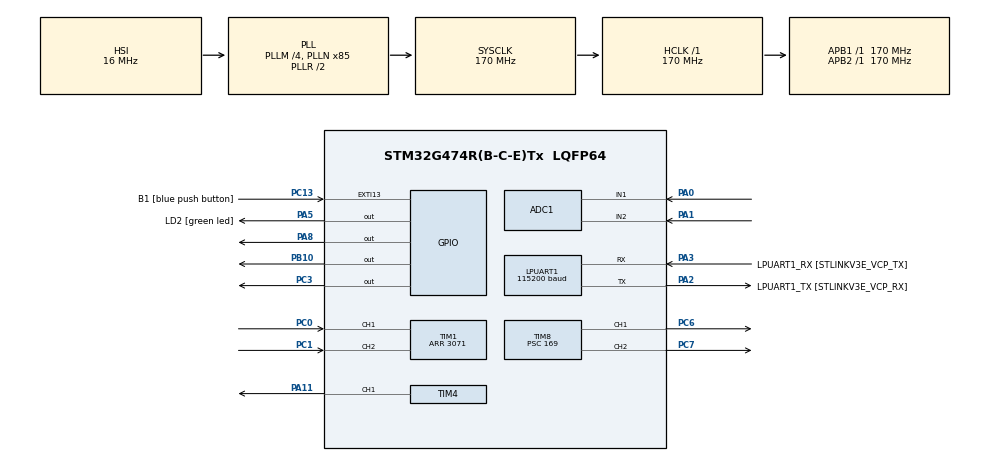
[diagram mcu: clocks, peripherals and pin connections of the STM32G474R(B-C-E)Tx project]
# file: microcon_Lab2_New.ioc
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ADC1.Channel-0\#ChannelRegularConversion=ADC_CHANNEL_1
ADC1.Channel-1\#ChannelRegularConversion=ADC_CHANNEL_2
ADC1.ContinuousConvMode=DISABLE
ADC1.DMAContinuousRequests=ENABLE
ADC1.ExternalTrigConv=ADC_EXTERNALTRIG_T3_TRGO
ADC1.NbrOfConversion=2
ADC1.NbrOfConversionFlag=1
ADC1.OffsetNumber-0\#ChannelRegularConversion=ADC_OFFSET_NONE
ADC1.OffsetNumber-1\#ChannelRegularConversion=ADC_OFFSET_NONE
ADC1.Rank-0\#ChannelRegularConversion=1
ADC1.Rank-1\#ChannelRegularConversion=2
ADC1.SamplingTime-0\#ChannelRegularConversion=ADC_SAMPLETIME_2CYCLES_5
ADC1.SamplingTime-1\#ChannelRegularConversion=ADC_SAMPLETIME_2CYCLES_5
ADC1.master=1
ARM.CMSIS-DSP.1.15.0.CMSISJjDSP=Source
ARM.CMSIS.6.0.0.CMSISJjCORE=true
Dma.ADC1.0.Direction=DMA_PERIPH_TO_MEMORY
Dma.ADC1.0.EventEnable=DISABLE
Dma.ADC1.0.Instance=DMA1_Channel1
Dma.ADC1.0.MemDataAlignment=DMA_MDATAALIGN_HALFWORD
Dma.ADC1.0.MemInc=DMA_MINC_ENABLE
Dma.ADC1.0.Mode=DMA_CIRCULAR
Dma.ADC1.0.PeriphDataAlignment=DMA_PDATAALIGN_HALFWORD
Dma.ADC1.0.PeriphInc=DMA_PINC_DISABLE
Dma.ADC1.0.Polarity=HAL_DMAMUX_REQ_GEN_RISING
Dma.ADC1.0.Priority=DMA_PRIORITY_LOW
Dma.ADC1.0.RequestNumber=1
Dma.ADC1.0.SignalID=NONE
Dma.ADC1.0.SyncEnable=DISABLE
Dma.ADC1.0.SyncPolarity=HAL_DMAMUX_SYNC_NO_EVENT
Dma.ADC1.0.SyncRequestNumber=1
Dma.ADC1.0.SyncSignalID=NONE
Dma.LPUART1_RX.1.Direction=DMA_PERIPH_TO_MEMORY
Dma.LPUART1_RX.1.EventEnable=DISABLE
Dma.LPUART1_RX.1.Instance=DMA1_Channel2
Dma.LPUART1_RX.1.MemDataAlignment=DMA_MDATAALIGN_BYTE
Dma.LPUART1_RX.1.MemInc=DMA_MINC_ENABLE
Dma.LPUART1_RX.1.Mode=DMA_CIRCULAR
Dma.LPUART1_RX.1.PeriphDataAlignment=DMA_PDATAALIGN_BYTE
Dma.LPUART1_RX.1.PeriphInc=DMA_PINC_DISABLE
Dma.LPUART1_RX.1.Polarity=HAL_DMAMUX_REQ_GEN_RISING
Dma.LPUART1_RX.1.Priority=DMA_PRIORITY_LOW
Dma.LPUART1_RX.1.RequestNumber=1
Dma.LPUART1_RX.1.SignalID=NONE
Dma.LPUART1_RX.1.SyncEnable=DISABLE
Dma.LPUART1_RX.1.SyncPolarity=HAL_DMAMUX_SYNC_NO_EVENT
Dma.LPUART1_RX.1.SyncRequestNumber=1
Dma.LPUART1_RX.1.SyncSignalID=NONE
Dma.LPUART1_TX.2.Direction=DMA_MEMORY_TO_PERIPH
Dma.LPUART1_TX.2.EventEnable=DISABLE
Dma.LPUART1_TX.2.Instance=DMA1_Channel3
Dma.LPUART1_TX.2.MemDataAlignment=DMA_MDATAALIGN_BYTE
Dma.LPUART1_TX.2.MemInc=DMA_MINC_ENABLE
Dma.LPUART1_TX.2.Mode=DMA_NORMAL
Dma.LPUART1_TX.2.PeriphDataAlignment=DMA_PDATAALIGN_BYTE
Dma.LPUART1_TX.2.PeriphInc=DMA_PINC_DISABLE
Dma.LPUART1_TX.2.Polarity=HAL_DMAMUX_REQ_GEN_RISING
Dma.LPUART1_TX.2.Priority=DMA_PRIORITY_LOW
Dma.LPUART1_TX.2.RequestNumber=1
Dma.LPUART1_TX.2.SignalID=NONE
Dma.LPUART1_TX.2.SyncEnable=DISABLE
Dma.LPUART1_TX.2.SyncPolarity=HAL_DMAMUX_SYNC_NO_EVENT
Dma.LPUART1_TX.2.SyncRequestNumber=1
Dma.LPUART1_TX.2.SyncSignalID=NONE
Dma.Request0=ADC1
Dma.Request1=LPUART1_RX
Dma.Request2=LPUART1_TX
LPUART1.BaudRate=115200
LPUART1.WordLength=UART_WORDLENGTH_8B
Mcu.Family=STM32G4
Mcu.Name=STM32G474R(B-C-E)Tx
Mcu.Package=LQFP64
NVIC.DMA1_Channel1_IRQn=true\:0\:0\:false\:false\:true\:false\:true\:true
NVIC.DMA1_Channel2_IRQn=true\:0\:0\:false\:false\:true\:false\:true\:true
NVIC.DMA1_Channel3_IRQn=true\:0\:0\:false\:false\:true\:false\:true\:true
NVIC.EXTI15_10_IRQn=true\:0\:0\:false\:false\:true\:true\:true\:true
NVIC.LPUART1_IRQn=true\:0\:0\:false\:false\:true\:true\:true\:true
NVIC.PriorityGroup=NVIC_PRIORITYGROUP_4
NVIC.TIM2_IRQn=true\:0\:0\:false\:false\:true\:true\:true\:true
NVIC.TIM5_IRQn=true\:0\:0\:false\:false\:true\:true\:true\:true
PA0.Mode=IN1-Single-Ended
PA0.Signal=ADC1_IN1
PA1.Mode=IN2-Single-Ended
PA1.Signal=ADC1_IN2
PA11.Signal=S_TIM4_CH1
PA13.GPIO_Label=T_SWDIO
PA13.Mode=Serial_Wire
PA13.Signal=SYS_JTMS-SWDIO
PA14.GPIO_Label=T_SWCLK
PA14.Mode=Serial_Wire
PA14.Signal=SYS_JTCK-SWCLK
PA2.GPIO_Label=LPUART1_TX [STLINKV3E_VCP_RX]
PA2.Mode=Asynchronous
PA2.Signal=LPUART1_TX
PA3.GPIO_Label=LPUART1_RX [STLINKV3E_VCP_TX]
PA3.Mode=Asynchronous
PA3.Signal=LPUART1_RX
PA5.GPIO_Label=LD2 [green led]
PA5.Signal=GPIO_Output
PA8.Signal=GPIO_Output
PB10.Signal=GPIO_Output
PB3.GPIO_Label=T_SWO
PB3.Signal=SYS_JTDO-SWO
PC0.Signal=S_TIM1_CH1
PC1.Signal=S_TIM1_CH2
PC13.GPIO_Label=B1 [blue push button]
PC13.Signal=GPXTI13
PC14-OSC32_IN.Mode=LSE-External-Oscillator
PC14-OSC32_IN.Signal=RCC_OSC32_IN
PC15-OSC32_OUT.Mode=LSE-External-Oscillator
PC15-OSC32_OUT.Signal=RCC_OSC32_OUT
PC3.Signal=GPIO_Output
PC6.Signal=S_TIM8_CH1
PC7.Signal=S_TIM8_CH2
PF0-OSC_IN.Mode=HSE-External-Oscillator
PF0-OSC_IN.Signal=RCC_OSC_IN
PF1-OSC_OUT.Mode=HSE-External-Oscillator
PF1-OSC_OUT.Signal=RCC_OSC_OUT
ProjectManager.HeapSize=0x200
ProjectManager.StackSize=0x400
ProjectManager.TargetToolchain=STM32CubeIDE
RCC.ADC12Freq_Value=170000000
RCC.ADC345Freq_Value=170000000
RCC.AHBFreq_Value=170000000
RCC.APB1Freq_Value=170000000
RCC.APB1TimFreq_Value=170000000
RCC.APB2Freq_Value=170000000
RCC.APB2TimFreq_Value=170000000
RCC.CortexFreq_Value=170000000
RCC.EXTERNAL_CLOCK_VALUE=12288000
RCC.HCLKFreq_Value=170000000
RCC.HSE_VALUE=24000000
RCC.HSI48_VALUE=48000000
RCC.HSI_VALUE=16000000
RCC.PLLM=RCC_PLLM_DIV4
RCC.PLLN=85
RCC.RTCClockSelection=RCC_RTCCLKSOURCE_LSE
RCC.SYSCLKFreq_VALUE=170000000
RCC.SYSCLKSource=RCC_SYSCLKSOURCE_PLLCLK
RCC.USBFreq_Value=170000000
RCC.VCOOutputFreq_Value=340000000
SH.S_TIM1_CH1.0=TIM1_CH1,Encoder_Interface
SH.S_TIM1_CH2.0=TIM1_CH2,Encoder_Interface
SH.S_TIM4_CH1.0=TIM4_CH1,PWM Generation1 CH1
SH.S_TIM8_CH1.0=TIM8_CH1,PWM Generation1 CH1
SH.S_TIM8_CH2.0=TIM8_CH2,PWM Generation2 CH2
TIM1.EncoderMode=TIM_ENCODERMODE_TI12
TIM1.PeriodNoDither=3071
TIM2.PeriodNoDither=999
TIM2.Prescaler=169
TIM3.PeriodNoDither=999
TIM3.Prescaler=169
TIM3.TIM_MasterOutputTrigger=TIM_TRGO_UPDATE
TIM4.Channel-PWM\ Generation1\ CH1=TIM_CHANNEL_1
TIM4.PeriodNoDither=999
TIM4.Prescaler=16999
TIM4.PulseNoDither_1=500
TIM5.PeriodNoDither=4999
TIM5.Prescaler=169
TIM8.Channel-PWM\ Generation1\ CH1=TIM_CHANNEL_1
TIM8.Channel-PWM\ Generation2\ CH2=TIM_CHANNEL_2
TIM8.PeriodNoDither=999
TIM8.Prescaler=169
TIM8.PulseNoDither_1=500
VP_ARM.CMSIS-DSP_VS_CMSISJjDSP_1.15.0_1.15.0.Mode=CMSISJjDSP
VP_ARM.CMSIS_VS_CMSISJjCORE_6.0.0_6.0.0.Mode=CMSISJjCORE
VP_SYS_VS_DBSignals.Mode=DisableDeadBatterySignals
VP_TIM2_VS_ClockSourceINT.Mode=Internal
VP_TIM3_VS_ClockSourceINT.Mode=Internal
VP_TIM4_VS_ClockSourceINT.Mode=Internal
VP_TIM5_VS_ClockSourceINT.Mode=Internal
VP_TIM8_VS_ClockSourceINT.Mode=Internal
board=NUCLEO-G474RE

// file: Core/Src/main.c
/* USER CODE BEGIN Header */
/**
  ******************************************************************************
  * @file           : main.c
  * @brief          : Main program body
  ******************************************************************************
  * @attention
  *
  * Copyright (c) 2024 STMicroelectronics.
  * All rights reserved.
  *
  * This software is licensed under terms that can be found in the LICENSE file
  * in the root directory of this software component.
  * If no LICENSE file comes with this software, it is provided AS-IS.
  *
  ******************************************************************************
  */
/* USER CODE END Header */
#include "main.h"

/* USER CODE BEGIN Includes */
#include "arm_math.h"
/* USER CODE END Includes */

ADC_HandleTypeDef hadc1;
DMA_HandleTypeDef hdma_adc1;

UART_HandleTypeDef hlpuart1;
DMA_HandleTypeDef hdma_lpuart1_rx;
DMA_HandleTypeDef hdma_lpuart1_tx;

TIM_HandleTypeDef htim1;
TIM_HandleTypeDef htim2;
TIM_HandleTypeDef htim3;
TIM_HandleTypeDef htim4;
TIM_HandleTypeDef htim5;
TIM_HandleTypeDef htim8;

/* USER CODE BEGIN PV */

//For Read Real_positionM1, set_point
uint16_t ADCBuffer[2];

//PID
arm_pid_instance_f32 PID1 = {0};
arm_pid_instance_f32 PID2 = {0};

//Parameter M1
float positionM1 =0;
float setpositionM1 = 0;
float VfeedbackM1 = 0;

//Parameter M2
float VfeedbackM2 = 0;
float positionM2 = 0;
uint16_t QEIReadRaw = 0;

//For create PWM
uint16_t duty_cycle = 0;

//count round to unwrap positionM1
int n_round = 0;
uint16_t old_ADC = 0;

//count round to unwrap positionM1
int n_round_M2 = 0;
uint16_t old_QEI_M2 = 0;

//change_mode
uint8_t mode = 1;  //mode1->motor control    mode2->faulhaber

//Receive Vin from simulink
int8_t get_Uart[2];
int16_t Raw_Vin = 0;

uint16_t pos = 0;

static uint32_t timestamp = 0;

/* USER CODE END PV */

void SystemClock_Config(void);
static void MX_GPIO_Init(void);
static void MX_DMA_Init(void);
static void MX_LPUART1_UART_Init(void);
static void MX_ADC1_Init(void);
static void MX_TIM3_Init(void);
static void MX_TIM4_Init(void);
static void MX_TIM8_Init(void);
static void MX_TIM2_Init(void);
static void MX_TIM1_Init(void);
static void MX_TIM5_Init(void);
/* USER CODE BEGIN PFP */
void PWM_Mode1(int dut);
void PWM_Mode2(int dut);
void Read_setpoint_positionM1_Mode1();
void Read_setpoint_positionM2_Mode2();
void UARTDMAConfig();
/* USER CODE END PFP */

int main(void)
{

  /* MCU Configuration--------------------------------------------------------*/

  /* Reset of all peripherals, Initializes the Flash interface and the Systick. */
  HAL_Init();

  /* Configure the system clock */
  SystemClock_Config();

  /* Initialize all configured peripherals */
  MX_GPIO_Init();
  MX_DMA_Init();
  MX_LPUART1_UART_Init();
  MX_ADC1_Init();
  MX_TIM3_Init();
  MX_TIM4_Init();
  MX_TIM8_Init();
  MX_TIM2_Init();
  MX_TIM1_Init();
  MX_TIM5_Init();
  /* USER CODE BEGIN 2 */

    //Read real_positionM1, set_point with DMA
    HAL_ADC_Start_DMA(&hadc1, ADCBuffer, 2);
    HAL_TIM_Base_Start(&htim3);

    //PID Control M1
    PID1.Kp = 0.2;
    PID1.Ki = 0.000005;
    PID1.Kd = 0.1;
    arm_pid_init_f32(&PID1, 0);

    //PID Control M2
    PID2.Kp = 0.6;
    PID2.Ki = 0.000001;
    PID2.Kd = 0.01;
    arm_pid_init_f32(&PID2, 0);

    //Output Compare for PWM Mode1
    HAL_TIM_Base_Start(&htim4);
    HAL_TIM_PWM_Start(&htim4, TIM_CHANNEL_1);

    //Output Compare for PWM Mode2
    HAL_TIM_Base_Start(&htim8);
    HAL_TIM_PWM_Start(&htim8, TIM_CHANNEL_1);
    HAL_TIM_PWM_Start(&htim8, TIM_CHANNEL_2);

    //Mode3 send UART (Polling) to simulink
    HAL_TIM_Base_Start_IT(&htim5);

    //Receive UART in DMA mode (Vin from simulink)
    HAL_UART_Receive_DMA(&hlpuart1, get_Uart, 2);

    //QEI
    HAL_TIM_Encoder_Start(&htim1,TIM_CHANNEL_ALL);

    //Timer interrupt for read position
    HAL_TIM_Base_Start_IT(&htim2);

  /* USER CODE END 2 */

  /* Infinite loop */
  while (1)
  {

    /* USER CODE BEGIN 3 */
	  	  if(mode == 1){ //motor control 12V
	  		  HAL_GPIO_WritePin(GPIOA, GPIO_PIN_5, 1);
	  		  VfeedbackM1 = arm_pid_f32(&PID1, setpositionM1 - positionM1); //no more than 12V
	  		  //VfeedbackM1 = 0;
	  		  duty_cycle = fabs(VfeedbackM1) * 100/12; //0->12V to 0->100%
	  		  PWM_Mode1(duty_cycle);
	  		  PWM_Mode2(0);
	  	  }
	  	  else if(mode == 2){ //Fualhaber
	  		  HAL_GPIO_WritePin(GPIOA, GPIO_PIN_5, 0);
	  		  VfeedbackM2 = arm_pid_f32(&PID2, setpositionM1 - positionM2); //no more than 12V
	  		  //VfeedbackM2 = -5;
	  		  duty_cycle = fabs(VfeedbackM2) * 100/5; //0->5V to 0->100%
	  		  PWM_Mode1(0);
	  		  PWM_Mode2(duty_cycle);
	  	  }
	  	  else if(mode == 3){
	  		  //Toggle light
	  		  if(timestamp<=HAL_GetTick())
	  		  {
	  			timestamp = HAL_GetTick() + 500; //ms
	  			HAL_GPIO_TogglePin(GPIOA, GPIO_PIN_5);
	  		  }
	  		  VfeedbackM1 = (Raw_Vin*12)/4095; //0->4095 to 0-12V
	  		  if(fabs(3.14 - positionM1)<2){
	  			VfeedbackM1 = 0;
	  		  }
	  		  duty_cycle = fabs(VfeedbackM1) * 100/12; //0->12V to 0->100%
	  		  PWM_Mode1(duty_cycle);
	  		  PWM_Mode2(0);
	  	  }
  }
  /* USER CODE END 3 */
}

void SystemClock_Config(void)
{
  RCC_OscInitTypeDef RCC_OscInitStruct = {0};
  RCC_ClkInitTypeDef RCC_ClkInitStruct = {0};

  /** Configure the main internal regulator output voltage
  */
  HAL_PWREx_ControlVoltageScaling(PWR_REGULATOR_VOLTAGE_SCALE1_BOOST);

  /** Initializes the RCC Oscillators according to the specified parameters
  * in the RCC_OscInitTypeDef structure.
  */
  RCC_OscInitStruct.OscillatorType = RCC_OSCILLATORTYPE_HSI;
  RCC_OscInitStruct.HSIState = RCC_HSI_ON;
  RCC_OscInitStruct.HSICalibrationValue = RCC_HSICALIBRATION_DEFAULT;
  RCC_OscInitStruct.PLL.PLLState = RCC_PLL_ON;
  RCC_OscInitStruct.PLL.PLLSource = RCC_PLLSOURCE_HSI;
  RCC_OscInitStruct.PLL.PLLM = RCC_PLLM_DIV4;
  RCC_OscInitStruct.PLL.PLLN = 85;
  RCC_OscInitStruct.PLL.PLLP = RCC_PLLP_DIV2;
  RCC_OscInitStruct.PLL.PLLQ = RCC_PLLQ_DIV2;
  RCC_OscInitStruct.PLL.PLLR = RCC_PLLR_DIV2;
  if (HAL_RCC_OscConfig(&RCC_OscInitStruct) != HAL_OK)
  {
    Error_Handler();
  }

  /** Initializes the CPU, AHB and APB buses clocks
  */
  RCC_ClkInitStruct.ClockType = RCC_CLOCKTYPE_HCLK|RCC_CLOCKTYPE_SYSCLK
                              |RCC_CLOCKTYPE_PCLK1|RCC_CLOCKTYPE_PCLK2;
  RCC_ClkInitStruct.SYSCLKSource = RCC_SYSCLKSOURCE_PLLCLK;
  RCC_ClkInitStruct.AHBCLKDivider = RCC_SYSCLK_DIV1;
  RCC_ClkInitStruct.APB1CLKDivider = RCC_HCLK_DIV1;
  RCC_ClkInitStruct.APB2CLKDivider = RCC_HCLK_DIV1;

  if (HAL_RCC_ClockConfig(&RCC_ClkInitStruct, FLASH_LATENCY_4) != HAL_OK)
  {
    Error_Handler();
  }
}

static void MX_ADC1_Init(void)
{

  ADC_MultiModeTypeDef multimode = {0};
  ADC_ChannelConfTypeDef sConfig = {0};

  /** Common config
  */
  hadc1.Instance = ADC1;
  hadc1.Init.ClockPrescaler = ADC_CLOCK_SYNC_PCLK_DIV4;
  hadc1.Init.Resolution = ADC_RESOLUTION_12B;
  hadc1.Init.DataAlign = ADC_DATAALIGN_RIGHT;
  hadc1.Init.GainCompensation = 0;
  hadc1.Init.ScanConvMode = ADC_SCAN_ENABLE;
  hadc1.Init.EOCSelection = ADC_EOC_SINGLE_CONV;
  hadc1.Init.LowPowerAutoWait = DISABLE;
  hadc1.Init.ContinuousConvMode = DISABLE;
  hadc1.Init.NbrOfConversion = 2;
  hadc1.Init.DiscontinuousConvMode = DISABLE;
  hadc1.Init.ExternalTrigConv = ADC_EXTERNALTRIG_T3_TRGO;
  hadc1.Init.ExternalTrigConvEdge = ADC_EXTERNALTRIGCONVEDGE_RISING;
  hadc1.Init.DMAContinuousRequests = ENABLE;
  hadc1.Init.Overrun = ADC_OVR_DATA_PRESERVED;
  hadc1.Init.OversamplingMode = DISABLE;
  if (HAL_ADC_Init(&hadc1) != HAL_OK)
  {
    Error_Handler();
  }

  /** Configure the ADC multi-mode
  */
  multimode.Mode = ADC_MODE_INDEPENDENT;
  if (HAL_ADCEx_MultiModeConfigChannel(&hadc1, &multimode) != HAL_OK)
  {
    Error_Handler();
  }

  /** Configure Regular Channel
  */
  sConfig.Channel = ADC_CHANNEL_1;
  sConfig.Rank = ADC_REGULAR_RANK_1;
  sConfig.SamplingTime = ADC_SAMPLETIME_2CYCLES_5;
  sConfig.SingleDiff = ADC_SINGLE_ENDED;
  sConfig.OffsetNumber = ADC_OFFSET_NONE;
  sConfig.Offset = 0;
  if (HAL_ADC_ConfigChannel(&hadc1, &sConfig) != HAL_OK)
  {
    Error_Handler();
  }

  /** Configure Regular Channel
  */
  sConfig.Channel = ADC_CHANNEL_2;
  sConfig.Rank = ADC_REGULAR_RANK_2;
  if (HAL_ADC_ConfigChannel(&hadc1, &sConfig) != HAL_OK)
  {
    Error_Handler();
  }

}

static void MX_LPUART1_UART_Init(void)
{

  hlpuart1.Instance = LPUART1;
  hlpuart1.Init.BaudRate = 115200;
  hlpuart1.Init.WordLength = UART_WORDLENGTH_8B;
  hlpuart1.Init.StopBits = UART_STOPBITS_1;
  hlpuart1.Init.Parity = UART_PARITY_NONE;
  hlpuart1.Init.Mode = UART_MODE_TX_RX;
  hlpuart1.Init.HwFlowCtl = UART_HWCONTROL_NONE;
  hlpuart1.Init.OneBitSampling = UART_ONE_BIT_SAMPLE_DISABLE;
  hlpuart1.Init.ClockPrescaler = UART_PRESCALER_DIV1;
  hlpuart1.AdvancedInit.AdvFeatureInit = UART_ADVFEATURE_NO_INIT;
  if (HAL_UART_Init(&hlpuart1) != HAL_OK)
  {
    Error_Handler();
  }
  if (HAL_UARTEx_SetTxFifoThreshold(&hlpuart1, UART_TXFIFO_THRESHOLD_1_8) != HAL_OK)
  {
    Error_Handler();
  }
  if (HAL_UARTEx_SetRxFifoThreshold(&hlpuart1, UART_RXFIFO_THRESHOLD_1_8) != HAL_OK)
  {
    Error_Handler();
  }
  if (HAL_UARTEx_DisableFifoMode(&hlpuart1) != HAL_OK)
  {
    Error_Handler();
  }

}

static void MX_TIM1_Init(void)
{

  TIM_Encoder_InitTypeDef sConfig = {0};
  TIM_MasterConfigTypeDef sMasterConfig = {0};

  htim1.Instance = TIM1;
  htim1.Init.Prescaler = 0;
  htim1.Init.CounterMode = TIM_COUNTERMODE_UP;
  htim1.Init.Period = 3071;
  htim1.Init.ClockDivision = TIM_CLOCKDIVISION_DIV1;
  htim1.Init.RepetitionCounter = 0;
  htim1.Init.AutoReloadPreload = TIM_AUTORELOAD_PRELOAD_DISABLE;
  sConfig.EncoderMode = TIM_ENCODERMODE_TI12;
  sConfig.IC1Polarity = TIM_ICPOLARITY_RISING;
  sConfig.IC1Selection = TIM_ICSELECTION_DIRECTTI;
  sConfig.IC1Prescaler = TIM_ICPSC_DIV1;
  sConfig.IC1Filter = 0;
  sConfig.IC2Polarity = TIM_ICPOLARITY_RISING;
  sConfig.IC2Selection = TIM_ICSELECTION_DIRECTTI;
  sConfig.IC2Prescaler = TIM_ICPSC_DIV1;
  sConfig.IC2Filter = 0;
  if (HAL_TIM_Encoder_Init(&htim1, &sConfig) != HAL_OK)
  {
    Error_Handler();
  }
  sMasterConfig.MasterOutputTrigger = TIM_TRGO_RESET;
  sMasterConfig.MasterOutputTrigger2 = TIM_TRGO2_RESET;
  sMasterConfig.MasterSlaveMode = TIM_MASTERSLAVEMODE_DISABLE;
  if (HAL_TIMEx_MasterConfigSynchronization(&htim1, &sMasterConfig) != HAL_OK)
  {
    Error_Handler();
  }

}

static void MX_TIM2_Init(void)
{

  TIM_ClockConfigTypeDef sClockSourceConfig = {0};
  TIM_MasterConfigTypeDef sMasterConfig = {0};

  htim2.Instance = TIM2;
  htim2.Init.Prescaler = 169;
  htim2.Init.CounterMode = TIM_COUNTERMODE_UP;
  htim2.Init.Period = 999;
  htim2.Init.ClockDivision = TIM_CLOCKDIVISION_DIV1;
  htim2.Init.AutoReloadPreload = TIM_AUTORELOAD_PRELOAD_DISABLE;
  if (HAL_TIM_Base_Init(&htim2) != HAL_OK)
  {
    Error_Handler();
  }
  sClockSourceConfig.ClockSource = TIM_CLOCKSOURCE_INTERNAL;
  if (HAL_TIM_ConfigClockSource(&htim2, &sClockSourceConfig) != HAL_OK)
  {
    Error_Handler();
  }
  sMasterConfig.MasterOutputTrigger = TIM_TRGO_RESET;
  sMasterConfig.MasterSlaveMode = TIM_MASTERSLAVEMODE_DISABLE;
  if (HAL_TIMEx_MasterConfigSynchronization(&htim2, &sMasterConfig) != HAL_OK)
  {
    Error_Handler();
  }

}

static void MX_TIM3_Init(void)
{

  TIM_ClockConfigTypeDef sClockSourceConfig = {0};
  TIM_MasterConfigTypeDef sMasterConfig = {0};

  htim3.Instance = TIM3;
  htim3.Init.Prescaler = 169;
  htim3.Init.CounterMode = TIM_COUNTERMODE_UP;
  htim3.Init.Period = 999;
  htim3.Init.ClockDivision = TIM_CLOCKDIVISION_DIV1;
  htim3.Init.AutoReloadPreload = TIM_AUTORELOAD_PRELOAD_DISABLE;
  if (HAL_TIM_Base_Init(&htim3) != HAL_OK)
  {
    Error_Handler();
  }
  sClockSourceConfig.ClockSource = TIM_CLOCKSOURCE_INTERNAL;
  if (HAL_TIM_ConfigClockSource(&htim3, &sClockSourceConfig) != HAL_OK)
  {
    Error_Handler();
  }
  sMasterConfig.MasterOutputTrigger = TIM_TRGO_UPDATE;
  sMasterConfig.MasterSlaveMode = TIM_MASTERSLAVEMODE_DISABLE;
  if (HAL_TIMEx_MasterConfigSynchronization(&htim3, &sMasterConfig) != HAL_OK)
  {
    Error_Handler();
  }

}

static void MX_TIM4_Init(void)
{

  TIM_ClockConfigTypeDef sClockSourceConfig = {0};
  TIM_MasterConfigTypeDef sMasterConfig = {0};
  TIM_OC_InitTypeDef sConfigOC = {0};

  htim4.Instance = TIM4;
  htim4.Init.Prescaler = 16999;
  htim4.Init.CounterMode = TIM_COUNTERMODE_UP;
  htim4.Init.Period = 999;
  htim4.Init.ClockDivision = TIM_CLOCKDIVISION_DIV1;
  htim4.Init.AutoReloadPreload = TIM_AUTORELOAD_PRELOAD_DISABLE;
  if (HAL_TIM_Base_Init(&htim4) != HAL_OK)
  {
    Error_Handler();
  }
  sClockSourceConfig.ClockSource = TIM_CLOCKSOURCE_INTERNAL;
  if (HAL_TIM_ConfigClockSource(&htim4, &sClockSourceConfig) != HAL_OK)
  {
    Error_Handler();
  }
  if (HAL_TIM_PWM_Init(&htim4) != HAL_OK)
  {
    Error_Handler();
  }
  sMasterConfig.MasterOutputTrigger = TIM_TRGO_RESET;
  sMasterConfig.MasterSlaveMode = TIM_MASTERSLAVEMODE_DISABLE;
  if (HAL_TIMEx_MasterConfigSynchronization(&htim4, &sMasterConfig) != HAL_OK)
  {
    Error_Handler();
  }
  sConfigOC.OCMode = TIM_OCMODE_PWM1;
  sConfigOC.Pulse = 500;
  sConfigOC.OCPolarity = TIM_OCPOLARITY_HIGH;
  sConfigOC.OCFastMode = TIM_OCFAST_DISABLE;
  if (HAL_TIM_PWM_ConfigChannel(&htim4, &sConfigOC, TIM_CHANNEL_1) != HAL_OK)
  {
    Error_Handler();
  }
  HAL_TIM_MspPostInit(&htim4);

}

static void MX_TIM5_Init(void)
{

  TIM_ClockConfigTypeDef sClockSourceConfig = {0};
  TIM_MasterConfigTypeDef sMasterConfig = {0};

  htim5.Instance = TIM5;
  htim5.Init.Prescaler = 169;
  htim5.Init.CounterMode = TIM_COUNTERMODE_UP;
  htim5.Init.Period = 4999;
  htim5.Init.ClockDivision = TIM_CLOCKDIVISION_DIV1;
  htim5.Init.AutoReloadPreload = TIM_AUTORELOAD_PRELOAD_DISABLE;
  if (HAL_TIM_Base_Init(&htim5) != HAL_OK)
  {
    Error_Handler();
  }
  sClockSourceConfig.ClockSource = TIM_CLOCKSOURCE_INTERNAL;
  if (HAL_TIM_ConfigClockSource(&htim5, &sClockSourceConfig) != HAL_OK)
  {
    Error_Handler();
  }
  sMasterConfig.MasterOutputTrigger = TIM_TRGO_RESET;
  sMasterConfig.MasterSlaveMode = TIM_MASTERSLAVEMODE_DISABLE;
  if (HAL_TIMEx_MasterConfigSynchronization(&htim5, &sMasterConfig) != HAL_OK)
  {
    Error_Handler();
  }

}

static void MX_TIM8_Init(void)
{

  TIM_ClockConfigTypeDef sClockSourceConfig = {0};
  TIM_MasterConfigTypeDef sMasterConfig = {0};
  TIM_OC_InitTypeDef sConfigOC = {0};
  TIM_BreakDeadTimeConfigTypeDef sBreakDeadTimeConfig = {0};

  htim8.Instance = TIM8;
  htim8.Init.Prescaler = 169;
  htim8.Init.CounterMode = TIM_COUNTERMODE_UP;
  htim8.Init.Period = 999;
  htim8.Init.ClockDivision = TIM_CLOCKDIVISION_DIV1;
  htim8.Init.RepetitionCounter = 0;
  htim8.Init.AutoReloadPreload = TIM_AUTORELOAD_PRELOAD_DISABLE;
  if (HAL_TIM_Base_Init(&htim8) != HAL_OK)
  {
    Error_Handler();
  }
  sClockSourceConfig.ClockSource = TIM_CLOCKSOURCE_INTERNAL;
  if (HAL_TIM_ConfigClockSource(&htim8, &sClockSourceConfig) != HAL_OK)
  {
    Error_Handler();
  }
  if (HAL_TIM_PWM_Init(&htim8) != HAL_OK)
  {
    Error_Handler();
  }
  sMasterConfig.MasterOutputTrigger = TIM_TRGO_RESET;
  sMasterConfig.MasterOutputTrigger2 = TIM_TRGO2_RESET;
  sMasterConfig.MasterSlaveMode = TIM_MASTERSLAVEMODE_DISABLE;
  if (HAL_TIMEx_MasterConfigSynchronization(&htim8, &sMasterConfig) != HAL_OK)
  {
    Error_Handler();
  }
  sConfigOC.OCMode = TIM_OCMODE_PWM1;
  sConfigOC.Pulse = 500;
  sConfigOC.OCPolarity = TIM_OCPOLARITY_HIGH;
  sConfigOC.OCNPolarity = TIM_OCNPOLARITY_HIGH;
  sConfigOC.OCFastMode = TIM_OCFAST_DISABLE;
  sConfigOC.OCIdleState = TIM_OCIDLESTATE_RESET;
  sConfigOC.OCNIdleState = TIM_OCNIDLESTATE_RESET;
  if (HAL_TIM_PWM_ConfigChannel(&htim8, &sConfigOC, TIM_CHANNEL_1) != HAL_OK)
  {
    Error_Handler();
  }
  sConfigOC.Pulse = 0;
  if (HAL_TIM_PWM_ConfigChannel(&htim8, &sConfigOC, TIM_CHANNEL_2) != HAL_OK)
  {
    Error_Handler();
  }
  sBreakDeadTimeConfig.OffStateRunMode = TIM_OSSR_DISABLE;
  sBreakDeadTimeConfig.OffStateIDLEMode = TIM_OSSI_DISABLE;
  sBreakDeadTimeConfig.LockLevel = TIM_LOCKLEVEL_OFF;
  sBreakDeadTimeConfig.DeadTime = 0;
  sBreakDeadTimeConfig.BreakState = TIM_BREAK_DISABLE;
  sBreakDeadTimeConfig.BreakPolarity = TIM_BREAKPOLARITY_HIGH;
  sBreakDeadTimeConfig.BreakFilter = 0;
  sBreakDeadTimeConfig.BreakAFMode = TIM_BREAK_AFMODE_INPUT;
  sBreakDeadTimeConfig.Break2State = TIM_BREAK2_DISABLE;
  sBreakDeadTimeConfig.Break2Polarity = TIM_BREAK2POLARITY_HIGH;
  sBreakDeadTimeConfig.Break2Filter = 0;
  sBreakDeadTimeConfig.Break2AFMode = TIM_BREAK_AFMODE_INPUT;
  sBreakDeadTimeConfig.AutomaticOutput = TIM_AUTOMATICOUTPUT_DISABLE;
  if (HAL_TIMEx_ConfigBreakDeadTime(&htim8, &sBreakDeadTimeConfig) != HAL_OK)
  {
    Error_Handler();
  }
  HAL_TIM_MspPostInit(&htim8);

}

static void MX_DMA_Init(void)
{

  /* DMA controller clock enable */
  __HAL_RCC_DMAMUX1_CLK_ENABLE();
  __HAL_RCC_DMA1_CLK_ENABLE();

  /* DMA interrupt init */
  /* DMA1_Channel1_IRQn interrupt configuration */
  HAL_NVIC_SetPriority(DMA1_Channel1_IRQn, 0, 0);
  HAL_NVIC_EnableIRQ(DMA1_Channel1_IRQn);
  /* DMA1_Channel2_IRQn interrupt configuration */
  HAL_NVIC_SetPriority(DMA1_Channel2_IRQn, 0, 0);
  HAL_NVIC_EnableIRQ(DMA1_Channel2_IRQn);
  /* DMA1_Channel3_IRQn interrupt configuration */
  HAL_NVIC_SetPriority(DMA1_Channel3_IRQn, 0, 0);
  HAL_NVIC_EnableIRQ(DMA1_Channel3_IRQn);

}

static void MX_GPIO_Init(void)
{
  GPIO_InitTypeDef GPIO_InitStruct = {0};

  /* GPIO Ports Clock Enable */
  __HAL_RCC_GPIOC_CLK_ENABLE();
  __HAL_RCC_GPIOF_CLK_ENABLE();
  __HAL_RCC_GPIOA_CLK_ENABLE();
  __HAL_RCC_GPIOB_CLK_ENABLE();

  /*Configure GPIO pin Output Level */
  HAL_GPIO_WritePin(GPIOC, GPIO_PIN_3, GPIO_PIN_RESET);

  /*Configure GPIO pin Output Level */
  HAL_GPIO_WritePin(GPIOA, LD2_Pin|GPIO_PIN_8, GPIO_PIN_RESET);

  /*Configure GPIO pin Output Level */
  HAL_GPIO_WritePin(GPIOB, GPIO_PIN_10, GPIO_PIN_RESET);

  /*Configure GPIO pin : B1_Pin */
  GPIO_InitStruct.Pin = B1_Pin;
  GPIO_InitStruct.Mode = GPIO_MODE_IT_RISING;
  GPIO_InitStruct.Pull = GPIO_NOPULL;
  HAL_GPIO_Init(B1_GPIO_Port, &GPIO_InitStruct);

  /*Configure GPIO pin : PC3 */
  GPIO_InitStruct.Pin = GPIO_PIN_3;
  GPIO_InitStruct.Mode = GPIO_MODE_OUTPUT_PP;
  GPIO_InitStruct.Pull = GPIO_NOPULL;
  GPIO_InitStruct.Speed = GPIO_SPEED_FREQ_LOW;
  HAL_GPIO_Init(GPIOC, &GPIO_InitStruct);

  /*Configure GPIO pins : LD2_Pin PA8 */
  GPIO_InitStruct.Pin = LD2_Pin|GPIO_PIN_8;
  GPIO_InitStruct.Mode = GPIO_MODE_OUTPUT_PP;
  GPIO_InitStruct.Pull = GPIO_NOPULL;
  GPIO_InitStruct.Speed = GPIO_SPEED_FREQ_LOW;
  HAL_GPIO_Init(GPIOA, &GPIO_InitStruct);

  /*Configure GPIO pin : PB10 */
  GPIO_InitStruct.Pin = GPIO_PIN_10;
  GPIO_InitStruct.Mode = GPIO_MODE_OUTPUT_PP;
  GPIO_InitStruct.Pull = GPIO_NOPULL;
  GPIO_InitStruct.Speed = GPIO_SPEED_FREQ_LOW;
  HAL_GPIO_Init(GPIOB, &GPIO_InitStruct);

  /* EXTI interrupt init*/
  HAL_NVIC_SetPriority(EXTI15_10_IRQn, 0, 0);
  HAL_NVIC_EnableIRQ(EXTI15_10_IRQn);

}

/* USER CODE BEGIN 4 */

void HAL_GPIO_EXTI_Callback(uint16_t GPIO_Pin)
{
	if(GPIO_Pin == GPIO_PIN_13)
	{
		mode += 1;
		if(mode == 4){
			mode = 1;
		}
	}
}

void PWM_Mode1(int dut){ //Motor Control
	//PWM to Motor Output Compare
	__HAL_TIM_SET_COMPARE(&htim4, TIM_CHANNEL_1, dut*10);

	if(VfeedbackM1 >= 0){   //Motor Rotate Forward (CW) Radiant Increase
		HAL_GPIO_WritePin(GPIOA, GPIO_PIN_8, GPIO_PIN_RESET);
		HAL_GPIO_WritePin(GPIOB, GPIO_PIN_10, GPIO_PIN_SET);
	}
	else{ //Motor Rotate Reverse Radiant decrease (CCW)
		HAL_GPIO_WritePin(GPIOA, GPIO_PIN_8, GPIO_PIN_SET);
		HAL_GPIO_WritePin(GPIOB, GPIO_PIN_10, GPIO_PIN_RESET);
	}
}

void PWM_Mode2(int dut){ //Motor Faulhaber
	//PWM to Motor Output Compare

	if(VfeedbackM2 >= 0){   //Motor Rotate Forward (CW) Radiant Increase
		__HAL_TIM_SET_COMPARE(&htim8, TIM_CHANNEL_1, dut*10);
		__HAL_TIM_SET_COMPARE(&htim8, TIM_CHANNEL_2, 0);
	}
	else{ //Motor Rotate Reverse Radiant decrease (CCW)
		__HAL_TIM_SET_COMPARE(&htim8, TIM_CHANNEL_1, 0);
		__HAL_TIM_SET_COMPARE(&htim8, TIM_CHANNEL_2, dut*10);
	}
}

void Read_setpoint_positionM1_Mode1(){ //Motor Control
	//Unwrap positionM1
	if((old_ADC -  ADCBuffer[0])>2048){
		n_round += 1;
	}
	else if((old_ADC -  ADCBuffer[0])<-2048){
		n_round -= 1;
	}
	old_ADC = ADCBuffer[0];

	setpositionM1 = ADCBuffer[1]*2*3.14/4095; //4095 -> rad
	positionM1 = (ADCBuffer[0] + 4095*n_round)*2*3.14/4095; //4095 -> rad //feedback from potentionmeter
}

void Read_setpoint_positionM2_Mode2(){

	//read position motor 2
	QEIReadRaw = __HAL_TIM_GET_COUNTER(&htim1);

	//Unwrap positionM2
	if((old_QEI_M2 - QEIReadRaw)>1536){
			n_round_M2 += 1;
	}
	else if((old_QEI_M2 - QEIReadRaw)<-1536){
			n_round_M2 -= 1;
	}
	old_QEI_M2 = QEIReadRaw;

	positionM2 = (QEIReadRaw + 3072*n_round_M2)*2*3.14/3072; //rad
}

void HAL_TIM_PeriodElapsedCallback(TIM_HandleTypeDef *htim)
{
	if(htim == &htim5 && mode == 3)
	{
		pos = ADCBuffer[0] + 4095*n_round + 32768; // Your 16-bit number
		//pos = Raw_Vin + 32768;
		uint8_t header = 69; // ASCII value for 'E'
		uint8_t terminator = '\n'; // Newline character

		// Split 16-bit number into two 8-bit parts
		uint8_t highByte_pos = (pos >> 8) & 0xFF;
		uint8_t lowByte_pos = pos & 0xFF;

		// Prepare buffer to hold header, two 8-bit parts, and terminator
		uint8_t buffer[4];
		buffer[0] = header;
		buffer[1] = highByte_pos;
		buffer[2] = lowByte_pos;
		buffer[3] = terminator;

		// Transmit data over UART (Polling)
		HAL_UART_Transmit(&hlpuart1, buffer, sizeof(buffer), 10);
	}

	if(htim == &htim2)
	{
		Read_setpoint_positionM1_Mode1();
		Read_setpoint_positionM2_Mode2();
	}
}

//Receive UART from simulink
void UARTDMAConfig()
{
	//start UART in DMA Mode
	HAL_UART_Receive_DMA(&hlpuart1, get_Uart, 2);
}

void HAL_UART_RxCpltCallback(UART_HandleTypeDef *huart)
{
	if(huart == &hlpuart1)
	{
		Raw_Vin = (int16_t)get_Uart[0] << 8;
		Raw_Vin |= (uint8_t)get_Uart[1];
	}
}
/* USER CODE END 4 */

void Error_Handler(void)
{
  __disable_irq();
  while (1)
  {
  }
}
